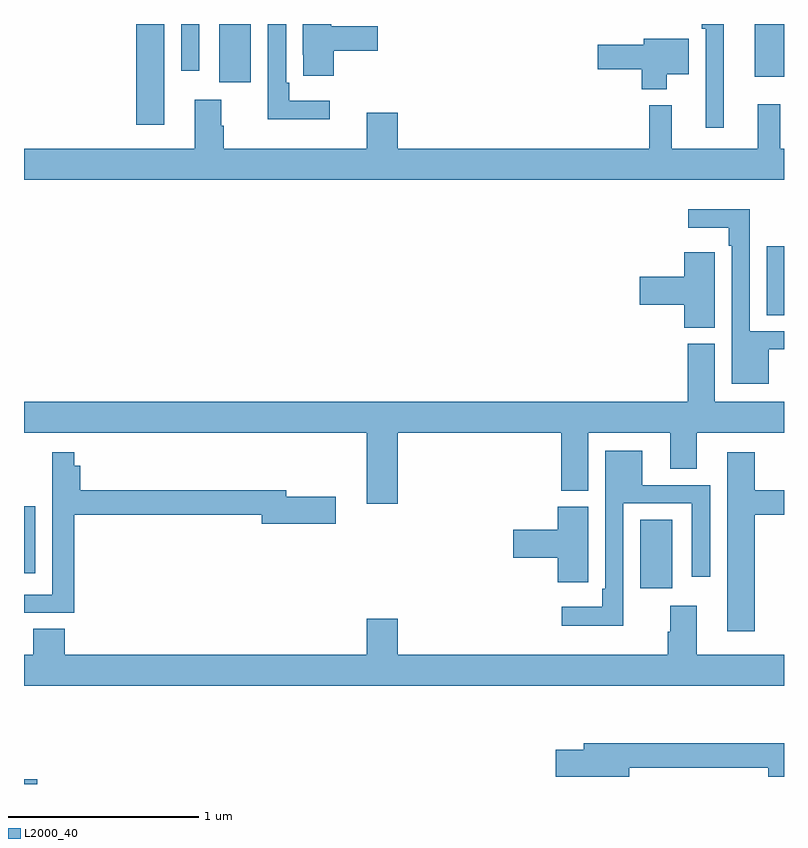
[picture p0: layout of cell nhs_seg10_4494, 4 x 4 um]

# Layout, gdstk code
import gdstk
lib = gdstk.Library(unit=1e-6, precision=1e-09)
def R(c, l, rs):  # rectangles x0, y0, x1, y1
    for r in rs: c.add(gdstk.rectangle(r[:2], r[2:], *l))
def P(c, l, *ps):  # polygons
    for p in ps: c.add(gdstk.Polygon(p, *l))
L2000_40 = (2000, 40)

nhs_seg10_4494 = lib.new_cell('nhs_seg10_4494')
R(nhs_seg10_4494, L2000_40, [(367,1266.5,367.069,1266.524), (370.244,1267.53,370.411,1267.892), (367,1267.608,367.06,1267.961), (370.91,1268.968,371,1269.331), (367.592,1269.969,367.738,1270.5), (368.027,1270.194,368.194,1270.5), (370.847,1270.223,371,1270.5), (367.827,1270.254,367.923,1270.5)])
P(nhs_seg10_4494, L2000_40, [(370.684,1270.5),(370.567,1270.5),(370.567,1270.475),(370.587,1270.475),(370.587,1269.954),(370.684,1269.954)],
  [(368.608,1270.096),(368.395,1270.096),(368.395,1270.192),(368.379,1270.192),(368.379,1270.5),(368.283,1270.5),(368.283,1269.998),(368.608,1269.998)],
  [(368.63,1270.36),(368.863,1270.36),(368.863,1270.489),(368.617,1270.489),(368.617,1270.5),(368.468,1270.5),(368.468,1270.339),(368.469,1270.339),(368.469,1270.227),(368.63,1270.227)],
  [(370.384,1270.235),(370.498,1270.235),(370.498,1270.423),(370.262,1270.423),(370.262,1270.39),(370.02,1270.39),(370.02,1270.261),(370.25,1270.261),(370.25,1270.157),(370.384,1270.157)],
  [(371,1269.844),(370.979,1269.844),(370.979,1270.078),(370.862,1270.078),(370.862,1269.844),(370.409,1269.844),(370.409,1270.072),(370.291,1270.072),(370.291,1269.844),(368.968,1269.844),(368.968,1270.033),(368.804,1270.033),(368.804,1269.844),(368.051,1269.844),(368.051,1269.965),(368.038,1269.965),(368.038,1270.102),(367.898,1270.102),(367.898,1269.844),(367,1269.844),(367,1269.68),(371,1269.68)],
  [(370.921,1268.787),(371,1268.787),(371,1268.883),(370.821,1268.883),(370.821,1269.526),(370.497,1269.526),(370.497,1269.428),(370.709,1269.428),(370.709,1269.332),(370.725,1269.332),(370.725,1268.606),(370.921,1268.606)],
  [(370.636,1269.185),(370.635,1269.185),(370.635,1269.298),(370.475,1269.298),(370.475,1269.17),(370.242,1269.17),(370.242,1269.023),(370.475,1269.023),(370.475,1268.902),(370.636,1268.902)],
  [(368.968,1268.348),(369.827,1268.348),(369.827,1268.044),(369.97,1268.044),(369.97,1268.348),(370.4,1268.348),(370.4,1268.158),(370.54,1268.158),(370.54,1268.348),(371,1268.348),(371,1268.512),(370.636,1268.512),(370.636,1268.817),(370.493,1268.817),(370.493,1268.512),(367,1268.512),(367,1268.348),(368.804,1268.348),(368.804,1267.974),(368.968,1267.974)],
  [(370.155,1267.977),(370.515,1267.977),(370.515,1267.59),(370.611,1267.59),(370.611,1268.073),(370.255,1268.073),(370.255,1268.254),(370.059,1268.254),(370.059,1267.528),(370.043,1267.528),(370.043,1267.432),(369.831,1267.432),(369.831,1267.334),(370.155,1267.334)],
  [(367.265,1267.918),(368.252,1267.918),(368.252,1267.871),(368.641,1267.871),(368.641,1268.013),(368.38,1268.013),(368.38,1268.047),(367.295,1268.047),(367.295,1268.176),(367.265,1268.176),(367.265,1268.245),(367.149,1268.245),(367.149,1267.497),(367,1267.497),(367,1267.401),(367.265,1267.401)],
  [(370.847,1267.918),(371,1267.918),(371,1268.047),(370.847,1268.047),(370.847,1268.245),(370.7,1268.245),(370.7,1267.305),(370.847,1267.305)],
  [(369.969,1267.675),(369.97,1267.675),(369.97,1267.959),(369.809,1267.959),(369.809,1267.838),(369.576,1267.838),(369.576,1267.691),(369.809,1267.691),(369.809,1267.563),(369.969,1267.563)],
  [(371,1267.18),(370.54,1267.18),(370.54,1267.438),(370.4,1267.438),(370.4,1267.301),(370.388,1267.301),(370.388,1267.18),(368.968,1267.18),(368.968,1267.369),(368.804,1267.369),(368.804,1267.18),(367.214,1267.18),(367.214,1267.316),(367.049,1267.316),(367.049,1267.18),(367,1267.18),(367,1267.016),(371,1267.016)],
  [(370.186,1266.586),(370.916,1266.586),(370.916,1266.539),(371,1266.539),(371,1266.715),(369.947,1266.715),(369.947,1266.681),(369.798,1266.681),(369.798,1266.539),(370.186,1266.539)])

lib.write_gds('nhs_seg10_4494.gds')
